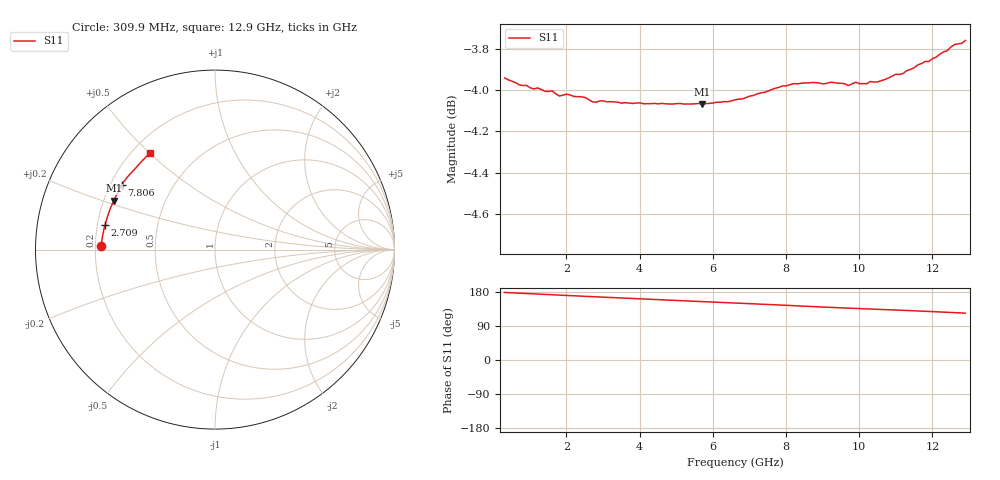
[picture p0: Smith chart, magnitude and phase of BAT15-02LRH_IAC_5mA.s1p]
! Infineon Technologies  Discrete & RF Semiconductors
! BAT15-02LRH
! IAC = 5 mA
! One-Port S-Parameters
# Hz  S  MA  R  50
!f  S11
!Hz  Mag  Ang
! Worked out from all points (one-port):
!   127 points, 309.9 MHz to 12.9 GHz, reference 50 ohm
!   lowest |S11| = -4.1 dB at 5.707 GHz (marker M1), VSWR 4.35, Z = 12.1 + j10.8 ohm
!   |S11| at or under -10 dB: nowhere
!   S11 on the Smith chart (normalised r, x): 309.9 MHz: 0.22, +0.01; 2.709 GHz: 0.23, +0.11; 7.806 GHz: 0.25, +0.30; 12.9 GHz: 0.27, +0.50
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3.0985e8  0.6353 178.2
1.2094e9  0.6318 174.0
1.6092e9  0.6308 172.1
1.70915e9  0.6297 171.6
1.90905e9  0.6292 170.9
2.4088e9  0.6287 168.5
2.70865e9  0.6269 167.2
3.0085e9  0.6272 165.8
3.50825e9  0.6264 163.6
4.008e9  0.6265 161.5
5.10745e9  0.6263 156.7
5.70715e9  0.6261 154.1
6.6067e9  0.6276 150.3
7.2064e9  0.6296 147.8
7.8061e9  0.632 145.2
8.2059e9  0.6333 143.4
8.50575e9  0.6336 142.0
9.10545e9  0.6334 139.3
9.8051e9  0.6332 136.5
1.050475e10  0.6339 133.7
1.090455e10  0.636 132.2
1.14043e10  0.6383 130.2
1.16042e10  0.64 129.3
1.2004e10  0.6422 127.7
1.26037e10  0.6473 125.0
1.270365e10  0.6475 124.6
1.28036e10  0.6477 124.0
1.290355e10  0.6488 123.7
